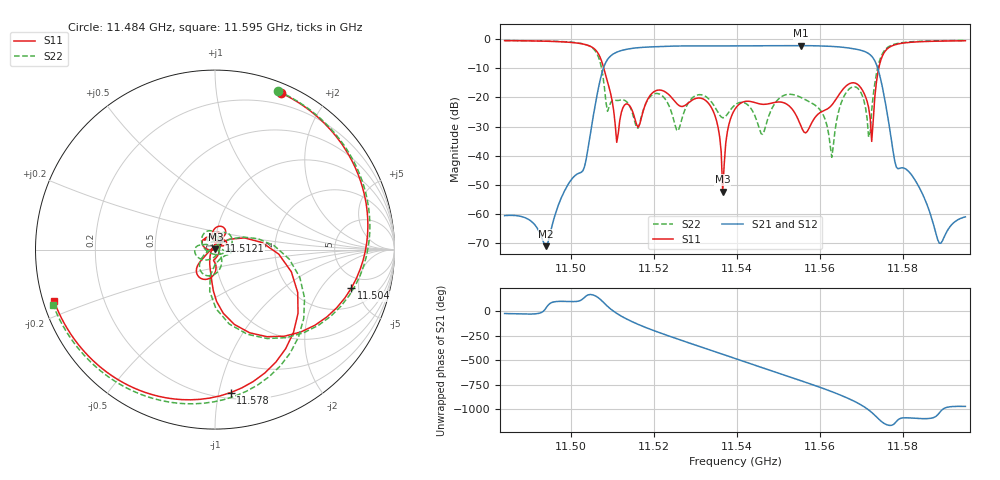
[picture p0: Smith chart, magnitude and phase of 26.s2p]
! Created with skrf 1.8.0 (http://scikit-rf.org).
# Hz S RI R 50.0
!freq ReS11 ImS11 ReS21 ImS21 ReS12 ImS12 ReS22 ImS22
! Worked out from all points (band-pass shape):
!   301 points, 11.484 GHz to 11.595 GHz, reference 50 ohm
!   highest |S21| = -2.19 dB at 11.5554 GHz (marker M1); lowest = -71.1 dB at 11.494 GHz (marker M2)
!   |S21| within 3 dB of the highest: 11.51 GHz to 11.5719 GHz (61.89 MHz wide, 0.536 % of centre)
!   lowest |S11| = -52.3 dB at 11.5365 GHz (marker M3), VSWR 1.00, Z = 50.2 + j0.167 ohm
!   |S11| at or under -10 dB: 11.5079 GHz to 11.5741 GHz (66.24 MHz wide, 0.574 % of centre)
!   |S22| runs from -40.6 to -0.4 dB; largest |S21 - S12| = 0.01
!   S11 on the Smith chart (normalised r, x): 11.484 GHz: 0.09, +1.50; 11.504 GHz: 3.63, -4.13; 11.5121 GHz: 1.05, +0.10; 11.578 GHz: 0.24, -1.09; 11.595 GHz: 0.03, -0.16
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1.1484e10  0.3672 0.8723  0.000847 -0.000391  0.000842 -0.000366  0.3527 0.8827
1.149399e10  0.665 0.6428  0.000236 0.000147  0.000231 0.00015  0.6653 0.6506
1.15025e10  0.8377 -0.00726  -0.00213 0.00474  -0.0022 0.00476  0.8442 -0.0346
1.150398e10  0.7596 -0.2146  -0.0114 0.00342  -0.0115 0.0034  0.7469 -0.2571
1.151101e10  -0.0168 0.00252  0.5518 -0.2345  0.5517 -0.2373  0.0879 -0.0128
1.151212e10  0.0251 0.0492  0.3976 -0.5007  0.3958 -0.5028  0.0905 -0.00244
1.1521e10  0.0315 0.13  -0.6099 0.4305  -0.6072 0.4313  0.088 0.0758
1.152618e10  0.0275 0.066  0.2879 0.7096  0.2941 0.7046  -0.024 -0.0203
1.153358e10  0.0447 0.0556  0.6062 -0.4748  0.6014 -0.4727  0.00204 0.0879
1.153654e10  0.00175 0.00167  0.1228 -0.7609  0.1193 -0.7584  -0.0128 0.0428
1.15395e10  -0.0613 0.0146  -0.426 -0.6396  -0.4271 -0.6336  -0.0429 0.0607
1.154875e10  -0.058 0.0569  -0.1806 0.7521  -0.1733 0.7519  -0.0434 -0.0576
1.155541e10  0.0219 0.0233  0.7665 0.1257  0.7588 0.1218  -0.0976 0.0209
1.1558e10  0.015 -0.0337  0.6816 -0.3663  0.6763 -0.3644  -0.0753 0.0264
1.156281e10  -0.000464 -0.0739  -0.1542 -0.737  -0.1549 -0.7331  0.00598 0.00723
1.156688e10  -0.0415 -0.1644  -0.7022 -0.085  -0.7018 -0.0837  -0.000887 -0.1371
1.157243e10  -0.0165 0.00609  0.3544 0.367  0.3529 0.3659  0.0433 0.0428
1.157391e10  0.262 0.0397  0.3042 -0.074  0.3053 -0.0723  0.3311 0.0209
1.15765e10  0.3385 -0.6275  0.00323 -0.0382  0.00318 -0.0388  0.3629 -0.6493
1.157798e10  0.0879 -0.7965  0.00335 -0.00733  0.00331 -0.00746  0.11 -0.817
1.158871e10  -0.7743 -0.5122  0.000239 0.000203  0.000244 0.000196  -0.7729 -0.5367
1.1595e10  -0.8972 -0.2855  -0.000264 0.000847  -0.000239 0.000843  -0.9014 -0.3087
